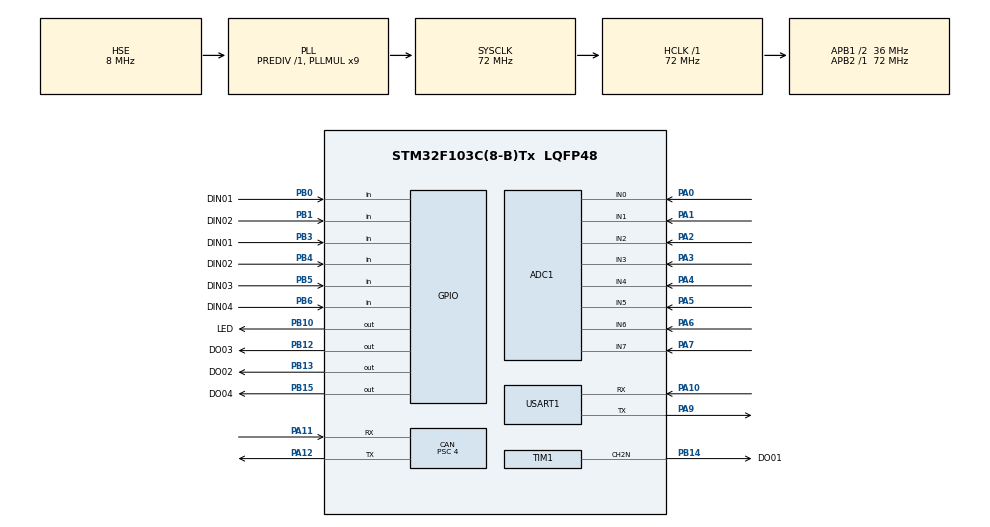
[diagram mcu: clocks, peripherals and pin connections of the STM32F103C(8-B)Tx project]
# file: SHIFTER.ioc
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ADC1.Channel-10\#ChannelRegularConversion=ADC_CHANNEL_0
ADC1.Channel-11\#ChannelRegularConversion=ADC_CHANNEL_1
ADC1.Channel-12\#ChannelRegularConversion=ADC_CHANNEL_2
ADC1.Channel-13\#ChannelRegularConversion=ADC_CHANNEL_3
ADC1.Channel-14\#ChannelRegularConversion=ADC_CHANNEL_4
ADC1.Channel-15\#ChannelRegularConversion=ADC_CHANNEL_5
ADC1.Channel-16\#ChannelRegularConversion=ADC_CHANNEL_6
ADC1.Channel-17\#ChannelRegularConversion=ADC_CHANNEL_7
ADC1.ContinuousConvMode=ENABLE
ADC1.EnableInjectedConversion=DISABLE
ADC1.EnableRegularConversion=ENABLE
ADC1.NbrOfConversion=8
ADC1.NbrOfConversionFlag=1
ADC1.Rank-10\#ChannelRegularConversion=1
ADC1.Rank-11\#ChannelRegularConversion=2
ADC1.Rank-12\#ChannelRegularConversion=3
ADC1.Rank-13\#ChannelRegularConversion=4
ADC1.Rank-14\#ChannelRegularConversion=5
ADC1.Rank-15\#ChannelRegularConversion=6
ADC1.Rank-16\#ChannelRegularConversion=7
ADC1.Rank-17\#ChannelRegularConversion=8
ADC1.SamplingTime-10\#ChannelRegularConversion=ADC_SAMPLETIME_28CYCLES_5
ADC1.SamplingTime-11\#ChannelRegularConversion=ADC_SAMPLETIME_28CYCLES_5
ADC1.SamplingTime-12\#ChannelRegularConversion=ADC_SAMPLETIME_28CYCLES_5
ADC1.SamplingTime-13\#ChannelRegularConversion=ADC_SAMPLETIME_28CYCLES_5
ADC1.SamplingTime-14\#ChannelRegularConversion=ADC_SAMPLETIME_28CYCLES_5
ADC1.SamplingTime-15\#ChannelRegularConversion=ADC_SAMPLETIME_28CYCLES_5
ADC1.SamplingTime-16\#ChannelRegularConversion=ADC_SAMPLETIME_28CYCLES_5
ADC1.SamplingTime-17\#ChannelRegularConversion=ADC_SAMPLETIME_28CYCLES_5
ADC1.master=1
CAN.ABOM=ENABLE
CAN.BS1=CAN_BS1_6TQ
CAN.BS2=CAN_BS2_2TQ
CAN.CalculateBaudRate=1000000
CAN.CalculateTimeBit=1000
CAN.CalculateTimeQuantum=111.11111111111111
CAN.NART=ENABLE
CAN.Prescaler=4
Dma.ADC1.0.Direction=DMA_PERIPH_TO_MEMORY
Dma.ADC1.0.Instance=DMA1_Channel1
Dma.ADC1.0.MemDataAlignment=DMA_MDATAALIGN_HALFWORD
Dma.ADC1.0.MemInc=DMA_MINC_ENABLE
Dma.ADC1.0.Mode=DMA_CIRCULAR
Dma.ADC1.0.PeriphDataAlignment=DMA_PDATAALIGN_HALFWORD
Dma.ADC1.0.PeriphInc=DMA_PINC_DISABLE
Dma.ADC1.0.Priority=DMA_PRIORITY_MEDIUM
Dma.Request0=ADC1
Mcu.Family=STM32F1
Mcu.Name=STM32F103C(8-B)Tx
Mcu.Package=LQFP48
NVIC.DMA1_Channel1_IRQn=true\:0\:0\:false\:false\:true\:false\:true\:true
NVIC.PriorityGroup=NVIC_PRIORITYGROUP_4
NVIC.TIM3_IRQn=true\:0\:0\:false\:false\:true\:true\:true\:true
NVIC.USB_LP_CAN1_RX0_IRQn=true\:0\:0\:false\:false\:true\:true\:true\:true
PA0-WKUP.Signal=ADCx_IN0
PA1.Signal=ADCx_IN1
PA10.Mode=Asynchronous
PA10.Signal=USART1_RX
PA11.Mode=CAN_Activate
PA11.Signal=CAN_RX
PA12.Mode=CAN_Activate
PA12.Signal=CAN_TX
PA13.Mode=Serial_Wire
PA13.Signal=SYS_JTMS-SWDIO
PA14.Mode=Serial_Wire
PA14.Signal=SYS_JTCK-SWCLK
PA2.Signal=ADCx_IN2
PA3.Signal=ADCx_IN3
PA4.Signal=ADCx_IN4
PA5.Signal=ADCx_IN5
PA6.Signal=ADCx_IN6
PA7.Signal=ADCx_IN7
PA9.Mode=Asynchronous
PA9.Signal=USART1_TX
PB0.GPIO_Label=DIN01
PB0.Signal=GPIO_Input
PB1.GPIO_Label=DIN02
PB1.Signal=GPIO_Input
PB10.GPIO_Label=LED
PB10.Signal=GPIO_Output
PB12.GPIO_Label=DO03
PB12.Signal=GPIO_Output
PB13.GPIO_Label=DO02
PB13.Signal=GPIO_Output
PB14.GPIO_Label=DO01
PB14.Mode=PWM Generation2 CH2N
PB14.Signal=TIM1_CH2N
PB15.GPIO_Label=DO04
PB15.Signal=GPIO_Output
PB3.GPIO_Label=DIN01
PB3.Signal=GPIO_Input
PB4.GPIO_Label=DIN02
PB4.Signal=GPIO_Input
PB5.GPIO_Label=DIN03
PB5.Signal=GPIO_Input
PB6.GPIO_Label=DIN04
PB6.Signal=GPIO_Input
PD0-OSC_IN.Mode=HSE-External-Oscillator
PD0-OSC_IN.Signal=RCC_OSC_IN
PD1-OSC_OUT.Mode=HSE-External-Oscillator
PD1-OSC_OUT.Signal=RCC_OSC_OUT
ProjectManager.HeapSize=0x200
ProjectManager.StackSize=0x400
ProjectManager.TargetToolchain=STM32CubeIDE
RCC.ADCPresc=RCC_ADCPCLK2_DIV8
RCC.AHBFreq_Value=72000000
RCC.APB1CLKDivider=RCC_HCLK_DIV2
RCC.APB1Freq_Value=36000000
RCC.APB1TimFreq_Value=72000000
RCC.APB2Freq_Value=72000000
RCC.APB2TimFreq_Value=72000000
RCC.HCLKFreq_Value=72000000
RCC.PLLMUL=RCC_PLL_MUL9
RCC.PLLSourceVirtual=RCC_PLLSOURCE_HSE
RCC.SYSCLKFreq_VALUE=72000000
RCC.SYSCLKSource=RCC_SYSCLKSOURCE_PLLCLK
RCC.USBFreq_Value=72000000
SH.ADCx_IN0.0=ADC1_IN0,IN0
SH.ADCx_IN1.0=ADC1_IN1,IN1
SH.ADCx_IN2.0=ADC1_IN2,IN2
SH.ADCx_IN3.0=ADC1_IN3,IN3
SH.ADCx_IN4.0=ADC1_IN4,IN4
SH.ADCx_IN5.0=ADC1_IN5,IN5
SH.ADCx_IN6.0=ADC1_IN6,IN6
SH.ADCx_IN7.0=ADC1_IN7,IN7
TIM1.AutoReloadPreload=TIM_AUTORELOAD_PRELOAD_ENABLE
TIM1.Channel-PWM\ Generation2\ CH2N=TIM_CHANNEL_2
TIM1.OCFastMode_PWM-PWM\ Generation2\ CH2N=TIM_OCFAST_ENABLE
TIM1.OCMode_PWM-PWM\ Generation2\ CH2N=TIM_OCMODE_PWM1
TIM1.Period=1500-1
TIM1.Prescaler=72-1
TIM2.AutoReloadPreload=TIM_AUTORELOAD_PRELOAD_ENABLE
TIM2.Period=65535
TIM2.Prescaler=72-1
TIM3.AutoReloadPreload=TIM_AUTORELOAD_PRELOAD_DISABLE
TIM3.Period=100-1
TIM3.Prescaler=7200-1
USART1.VirtualMode=VM_ASYNC
VP_TIM1_VS_ClockSourceINT.Mode=Internal
VP_TIM2_VS_ClockSourceINT.Mode=Internal
VP_TIM3_VS_ClockSourceINT.Mode=Internal
board=custom

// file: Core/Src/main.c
/* USER CODE BEGIN Header */
/**
  ******************************************************************************
  * @file           : main.c
  * @brief          : Main program body
  ******************************************************************************
  * @attention
  *
  * Copyright (c) 2023 STMicroelectronics.
  * All rights reserved.
  *
  * This software is licensed under terms that can be found in the LICENSE file
  * in the root directory of this software component.
  * If no LICENSE file comes with this software, it is provided AS-IS.
  *
  ******************************************************************************
  */
/* USER CODE END Header */
#include "main.h"

/* USER CODE BEGIN Includes */
#include <Controller.h>
#include <Inputs.h>
#include <Outputs.h>
/* USER CODE END Includes */

ADC_HandleTypeDef hadc1;
DMA_HandleTypeDef hdma_adc1;

CAN_HandleTypeDef hcan;

TIM_HandleTypeDef htim1;
TIM_HandleTypeDef htim2;
TIM_HandleTypeDef htim3;

UART_HandleTypeDef huart1;

/* USER CODE BEGIN PV */
uint16_t adcRawValue[ADC_BUFFER_SIZE];

volatile uint8_t BCycleTimerFlag = 0;

// public struct variables
InputStruct Inputs;
OutputStruct Outputs;

/* USER CODE END PV */

void SystemClock_Config(void);
static void MX_GPIO_Init(void);
static void MX_DMA_Init(void);
static void MX_TIM3_Init(void);
static void MX_ADC1_Init(void);
static void MX_CAN_Init(void);
static void MX_USART1_UART_Init(void);
static void MX_TIM2_Init(void);
static void MX_TIM1_Init(void);

int main(void)
{

  /* MCU Configuration--------------------------------------------------------*/

  /* Reset of all peripherals, Initializes the Flash interface and the Systick. */
  HAL_Init();

  /* Configure the system clock */
  SystemClock_Config();

  /* Initialize all configured peripherals */
  MX_GPIO_Init();
  MX_DMA_Init();
  MX_TIM3_Init();
  MX_ADC1_Init();
  MX_CAN_Init();
  MX_USART1_UART_Init();
  MX_TIM2_Init();
  MX_TIM1_Init();
  /* USER CODE BEGIN 2 */

  HAL_TIM_Base_Start_IT(&htim3);	// Code Cycle timer with interrupt (100Hz)
  HAL_TIM_Base_Start(&htim2);		// general 1MHz timer for timing
  InitInputs();
  InitController(&Inputs,&Outputs);
  InitOutputs();

  HAL_Delay(50);	// we give some time to the peripherals to start and produce normal values

  uint32_t tMain, tExecution;
  /* USER CODE END 2 */

  /* Infinite loop */
  /* USER CODE BEGIN WHILE */
  while (1) {

	  if(BCycleTimerFlag) {		// BCycleTimerFlag becomes 1 in the Timer callback below
		  BCycleTimerFlag = 0;
		  tMain = HAL_GetTick();
		  ReadInputs(&Inputs);
		  Controller(&Inputs,&Outputs);
		  WriteOutputs(&Inputs,&Outputs);
		  tExecution = HAL_GetTick() - tMain;
	  }

    /* USER CODE END WHILE */

  }
}

void SystemClock_Config(void)
{
  RCC_OscInitTypeDef RCC_OscInitStruct = {0};
  RCC_ClkInitTypeDef RCC_ClkInitStruct = {0};
  RCC_PeriphCLKInitTypeDef PeriphClkInit = {0};

  /** Initializes the RCC Oscillators according to the specified parameters
  * in the RCC_OscInitTypeDef structure.
  */
  RCC_OscInitStruct.OscillatorType = RCC_OSCILLATORTYPE_HSE;
  RCC_OscInitStruct.HSEState = RCC_HSE_ON;
  RCC_OscInitStruct.HSEPredivValue = RCC_HSE_PREDIV_DIV1;
  RCC_OscInitStruct.HSIState = RCC_HSI_ON;
  RCC_OscInitStruct.PLL.PLLState = RCC_PLL_ON;
  RCC_OscInitStruct.PLL.PLLSource = RCC_PLLSOURCE_HSE;
  RCC_OscInitStruct.PLL.PLLMUL = RCC_PLL_MUL9;
  if (HAL_RCC_OscConfig(&RCC_OscInitStruct) != HAL_OK)
  {
    Error_Handler();
  }

  /** Initializes the CPU, AHB and APB buses clocks
  */
  RCC_ClkInitStruct.ClockType = RCC_CLOCKTYPE_HCLK|RCC_CLOCKTYPE_SYSCLK
                              |RCC_CLOCKTYPE_PCLK1|RCC_CLOCKTYPE_PCLK2;
  RCC_ClkInitStruct.SYSCLKSource = RCC_SYSCLKSOURCE_PLLCLK;
  RCC_ClkInitStruct.AHBCLKDivider = RCC_SYSCLK_DIV1;
  RCC_ClkInitStruct.APB1CLKDivider = RCC_HCLK_DIV2;
  RCC_ClkInitStruct.APB2CLKDivider = RCC_HCLK_DIV1;

  if (HAL_RCC_ClockConfig(&RCC_ClkInitStruct, FLASH_LATENCY_2) != HAL_OK)
  {
    Error_Handler();
  }
  PeriphClkInit.PeriphClockSelection = RCC_PERIPHCLK_ADC;
  PeriphClkInit.AdcClockSelection = RCC_ADCPCLK2_DIV8;
  if (HAL_RCCEx_PeriphCLKConfig(&PeriphClkInit) != HAL_OK)
  {
    Error_Handler();
  }
}

static void MX_ADC1_Init(void)
{

  ADC_ChannelConfTypeDef sConfig = {0};

  /** Common config
  */
  hadc1.Instance = ADC1;
  hadc1.Init.ScanConvMode = ADC_SCAN_ENABLE;
  hadc1.Init.ContinuousConvMode = ENABLE;
  hadc1.Init.DiscontinuousConvMode = DISABLE;
  hadc1.Init.ExternalTrigConv = ADC_SOFTWARE_START;
  hadc1.Init.DataAlign = ADC_DATAALIGN_RIGHT;
  hadc1.Init.NbrOfConversion = 8;
  if (HAL_ADC_Init(&hadc1) != HAL_OK)
  {
    Error_Handler();
  }

  /** Configure Regular Channel
  */
  sConfig.Channel = ADC_CHANNEL_0;
  sConfig.Rank = ADC_REGULAR_RANK_1;
  sConfig.SamplingTime = ADC_SAMPLETIME_28CYCLES_5;
  if (HAL_ADC_ConfigChannel(&hadc1, &sConfig) != HAL_OK)
  {
    Error_Handler();
  }

  /** Configure Regular Channel
  */
  sConfig.Channel = ADC_CHANNEL_1;
  sConfig.Rank = ADC_REGULAR_RANK_2;
  if (HAL_ADC_ConfigChannel(&hadc1, &sConfig) != HAL_OK)
  {
    Error_Handler();
  }

  /** Configure Regular Channel
  */
  sConfig.Channel = ADC_CHANNEL_2;
  sConfig.Rank = ADC_REGULAR_RANK_3;
  if (HAL_ADC_ConfigChannel(&hadc1, &sConfig) != HAL_OK)
  {
    Error_Handler();
  }

  /** Configure Regular Channel
  */
  sConfig.Channel = ADC_CHANNEL_3;
  sConfig.Rank = ADC_REGULAR_RANK_4;
  if (HAL_ADC_ConfigChannel(&hadc1, &sConfig) != HAL_OK)
  {
    Error_Handler();
  }

  /** Configure Regular Channel
  */
  sConfig.Channel = ADC_CHANNEL_4;
  sConfig.Rank = ADC_REGULAR_RANK_5;
  if (HAL_ADC_ConfigChannel(&hadc1, &sConfig) != HAL_OK)
  {
    Error_Handler();
  }

  /** Configure Regular Channel
  */
  sConfig.Channel = ADC_CHANNEL_5;
  sConfig.Rank = ADC_REGULAR_RANK_6;
  if (HAL_ADC_ConfigChannel(&hadc1, &sConfig) != HAL_OK)
  {
    Error_Handler();
  }

  /** Configure Regular Channel
  */
  sConfig.Channel = ADC_CHANNEL_6;
  sConfig.Rank = ADC_REGULAR_RANK_7;
  if (HAL_ADC_ConfigChannel(&hadc1, &sConfig) != HAL_OK)
  {
    Error_Handler();
  }

  /** Configure Regular Channel
  */
  sConfig.Channel = ADC_CHANNEL_7;
  sConfig.Rank = ADC_REGULAR_RANK_8;
  if (HAL_ADC_ConfigChannel(&hadc1, &sConfig) != HAL_OK)
  {
    Error_Handler();
  }

}

static void MX_CAN_Init(void)
{

  hcan.Instance = CAN1;
  hcan.Init.Prescaler = 4;
  hcan.Init.Mode = CAN_MODE_NORMAL;
  hcan.Init.SyncJumpWidth = CAN_SJW_1TQ;
  hcan.Init.TimeSeg1 = CAN_BS1_6TQ;
  hcan.Init.TimeSeg2 = CAN_BS2_2TQ;
  hcan.Init.TimeTriggeredMode = DISABLE;
  hcan.Init.AutoBusOff = ENABLE;
  hcan.Init.AutoWakeUp = DISABLE;
  hcan.Init.AutoRetransmission = ENABLE;
  hcan.Init.ReceiveFifoLocked = DISABLE;
  hcan.Init.TransmitFifoPriority = DISABLE;
  if (HAL_CAN_Init(&hcan) != HAL_OK)
  {
    Error_Handler();
  }
  /* USER CODE BEGIN CAN_Init 2 */

  	  // We setup and enable 2 filters for each message, one of FIFO0 and one for FIFO1
  	  // like this the message has the chance to enter either FIFO and get received with an interrupt
  	  // We need to increment the banks to be able to have all filters active at the same time and not overwrite them

  	// STEERING WHEEL RECEIVE
   CAN_FilterTypeDef FilterConfig0;
   FilterConfig0.FilterIdHigh = SIU_TX_ID01 << 5 ;
   FilterConfig0.FilterIdLow = 0;
   FilterConfig0.FilterMaskIdHigh = 0xffe0;
   FilterConfig0.FilterMaskIdLow = 0;
   FilterConfig0.FilterFIFOAssignment = CAN_FILTER_FIFO0;
   FilterConfig0.FilterBank = 0;
   FilterConfig0.SlaveStartFilterBank = 0;
   FilterConfig0.FilterMode = CAN_FILTERMODE_IDMASK;
   FilterConfig0.FilterScale = CAN_FILTERSCALE_32BIT;
   FilterConfig0.FilterActivation = ENABLE;

   if(HAL_CAN_ConfigFilter(&hcan, &FilterConfig0)!=HAL_OK) {
 	  Error_Handler();
 	}

   CAN_FilterTypeDef FilterConfig01;
   FilterConfig01.FilterIdHigh = SIU_TX_ID01 << 5 ;
   FilterConfig01.FilterIdLow = 0;
   FilterConfig01.FilterMaskIdHigh = 0xffe0;
   FilterConfig01.FilterMaskIdLow = 0;
   FilterConfig01.FilterFIFOAssignment = CAN_FILTER_FIFO1;
   FilterConfig01.FilterBank = 1;
   FilterConfig01.SlaveStartFilterBank = 0;
   FilterConfig01.FilterMode = CAN_FILTERMODE_IDMASK;
   FilterConfig01.FilterScale = CAN_FILTERSCALE_32BIT;
   FilterConfig01.FilterActivation = ENABLE;

   if(HAL_CAN_ConfigFilter(&hcan, &FilterConfig01)!=HAL_OK) {
 	  Error_Handler();
 	}

 	// ECU RECEIVE
   CAN_FilterTypeDef FilterConfig1;
   FilterConfig1.FilterIdHigh = ECU_TX_ID01 << 5 ;
   FilterConfig1.FilterIdLow = 0;
   FilterConfig1.FilterMaskIdHigh = 0xffe0;
   FilterConfig1.FilterMaskIdLow = 0;
   FilterConfig1.FilterFIFOAssignment = CAN_FILTER_FIFO0;
   FilterConfig1.FilterBank = 2;
   FilterConfig1.SlaveStartFilterBank = 0;
   FilterConfig1.FilterMode = CAN_FILTERMODE_IDMASK;
   FilterConfig1.FilterScale = CAN_FILTERSCALE_32BIT;
   FilterConfig1.FilterActivation = ENABLE;

   if(HAL_CAN_ConfigFilter(&hcan, &FilterConfig1)!=HAL_OK) {
 	  Error_Handler();
 	}

   CAN_FilterTypeDef FilterConfig11;
   FilterConfig11.FilterIdHigh = ECU_TX_ID01 << 5 ;
   FilterConfig11.FilterIdLow = 0;
   FilterConfig11.FilterMaskIdHigh = 0xffe0;
   FilterConfig11.FilterMaskIdLow = 0;
   FilterConfig11.FilterFIFOAssignment = CAN_FILTER_FIFO1;
   FilterConfig11.FilterBank = 3;
   FilterConfig11.SlaveStartFilterBank = 0;
   FilterConfig11.FilterMode = CAN_FILTERMODE_IDMASK;
   FilterConfig11.FilterScale = CAN_FILTERSCALE_32BIT;
   FilterConfig11.FilterActivation = ENABLE;

   if(HAL_CAN_ConfigFilter(&hcan, &FilterConfig11)!=HAL_OK) {
 	  Error_Handler();
 	}

   // we activate the notifications (interrupts) for FIFO0
   if (HAL_CAN_ActivateNotification(&hcan, CAN_IT_RX_FIFO0_MSG_PENDING) != HAL_OK) {
	   Error_Handler();
 	}
   // we activate the notifications (interrupts) for FIFO1
   if (HAL_CAN_ActivateNotification(&hcan, CAN_IT_RX_FIFO1_MSG_PENDING) != HAL_OK) {
	   Error_Handler();
 	}
   // we activate the notifications (interrupts) for all error codes
   if(HAL_CAN_ActivateNotification(&hcan, (CAN_IT_ERROR_WARNING | CAN_IT_ERROR_PASSIVE | CAN_IT_BUSOFF | CAN_IT_LAST_ERROR_CODE | CAN_IT_ERROR)) != HAL_OK) {
	   Error_Handler();
   }
   // we start the CAN
   if(HAL_CAN_Start(&hcan)!=HAL_OK) {
 	  Error_Handler();
   }

  /* USER CODE END CAN_Init 2 */

}

static void MX_TIM1_Init(void)
{

  TIM_ClockConfigTypeDef sClockSourceConfig = {0};
  TIM_MasterConfigTypeDef sMasterConfig = {0};
  TIM_OC_InitTypeDef sConfigOC = {0};
  TIM_BreakDeadTimeConfigTypeDef sBreakDeadTimeConfig = {0};

  htim1.Instance = TIM1;
  htim1.Init.Prescaler = 72-1;
  htim1.Init.CounterMode = TIM_COUNTERMODE_UP;
  htim1.Init.Period = 1500-1;
  htim1.Init.ClockDivision = TIM_CLOCKDIVISION_DIV1;
  htim1.Init.RepetitionCounter = 0;
  htim1.Init.AutoReloadPreload = TIM_AUTORELOAD_PRELOAD_ENABLE;
  if (HAL_TIM_Base_Init(&htim1) != HAL_OK)
  {
    Error_Handler();
  }
  sClockSourceConfig.ClockSource = TIM_CLOCKSOURCE_INTERNAL;
  if (HAL_TIM_ConfigClockSource(&htim1, &sClockSourceConfig) != HAL_OK)
  {
    Error_Handler();
  }
  if (HAL_TIM_PWM_Init(&htim1) != HAL_OK)
  {
    Error_Handler();
  }
  sMasterConfig.MasterOutputTrigger = TIM_TRGO_RESET;
  sMasterConfig.MasterSlaveMode = TIM_MASTERSLAVEMODE_DISABLE;
  if (HAL_TIMEx_MasterConfigSynchronization(&htim1, &sMasterConfig) != HAL_OK)
  {
    Error_Handler();
  }
  sConfigOC.OCMode = TIM_OCMODE_PWM1;
  sConfigOC.Pulse = 0;
  sConfigOC.OCPolarity = TIM_OCPOLARITY_HIGH;
  sConfigOC.OCNPolarity = TIM_OCNPOLARITY_HIGH;
  sConfigOC.OCFastMode = TIM_OCFAST_ENABLE;
  sConfigOC.OCIdleState = TIM_OCIDLESTATE_RESET;
  sConfigOC.OCNIdleState = TIM_OCNIDLESTATE_RESET;
  if (HAL_TIM_PWM_ConfigChannel(&htim1, &sConfigOC, TIM_CHANNEL_2) != HAL_OK)
  {
    Error_Handler();
  }
  sBreakDeadTimeConfig.OffStateRunMode = TIM_OSSR_DISABLE;
  sBreakDeadTimeConfig.OffStateIDLEMode = TIM_OSSI_DISABLE;
  sBreakDeadTimeConfig.LockLevel = TIM_LOCKLEVEL_OFF;
  sBreakDeadTimeConfig.DeadTime = 0;
  sBreakDeadTimeConfig.BreakState = TIM_BREAK_DISABLE;
  sBreakDeadTimeConfig.BreakPolarity = TIM_BREAKPOLARITY_HIGH;
  sBreakDeadTimeConfig.AutomaticOutput = TIM_AUTOMATICOUTPUT_DISABLE;
  if (HAL_TIMEx_ConfigBreakDeadTime(&htim1, &sBreakDeadTimeConfig) != HAL_OK)
  {
    Error_Handler();
  }
  HAL_TIM_MspPostInit(&htim1);

}

static void MX_TIM2_Init(void)
{

  TIM_ClockConfigTypeDef sClockSourceConfig = {0};
  TIM_MasterConfigTypeDef sMasterConfig = {0};

  htim2.Instance = TIM2;
  htim2.Init.Prescaler = 72-1;
  htim2.Init.CounterMode = TIM_COUNTERMODE_UP;
  htim2.Init.Period = 65535;
  htim2.Init.ClockDivision = TIM_CLOCKDIVISION_DIV1;
  htim2.Init.AutoReloadPreload = TIM_AUTORELOAD_PRELOAD_ENABLE;
  if (HAL_TIM_Base_Init(&htim2) != HAL_OK)
  {
    Error_Handler();
  }
  sClockSourceConfig.ClockSource = TIM_CLOCKSOURCE_INTERNAL;
  if (HAL_TIM_ConfigClockSource(&htim2, &sClockSourceConfig) != HAL_OK)
  {
    Error_Handler();
  }
  sMasterConfig.MasterOutputTrigger = TIM_TRGO_RESET;
  sMasterConfig.MasterSlaveMode = TIM_MASTERSLAVEMODE_DISABLE;
  if (HAL_TIMEx_MasterConfigSynchronization(&htim2, &sMasterConfig) != HAL_OK)
  {
    Error_Handler();
  }

}

static void MX_TIM3_Init(void)
{

  TIM_ClockConfigTypeDef sClockSourceConfig = {0};
  TIM_MasterConfigTypeDef sMasterConfig = {0};

  htim3.Instance = TIM3;
  htim3.Init.Prescaler = 7200-1;
  htim3.Init.CounterMode = TIM_COUNTERMODE_UP;
  htim3.Init.Period = 100-1;
  htim3.Init.ClockDivision = TIM_CLOCKDIVISION_DIV1;
  htim3.Init.AutoReloadPreload = TIM_AUTORELOAD_PRELOAD_DISABLE;
  if (HAL_TIM_Base_Init(&htim3) != HAL_OK)
  {
    Error_Handler();
  }
  sClockSourceConfig.ClockSource = TIM_CLOCKSOURCE_INTERNAL;
  if (HAL_TIM_ConfigClockSource(&htim3, &sClockSourceConfig) != HAL_OK)
  {
    Error_Handler();
  }
  sMasterConfig.MasterOutputTrigger = TIM_TRGO_RESET;
  sMasterConfig.MasterSlaveMode = TIM_MASTERSLAVEMODE_DISABLE;
  if (HAL_TIMEx_MasterConfigSynchronization(&htim3, &sMasterConfig) != HAL_OK)
  {
    Error_Handler();
  }

}

static void MX_USART1_UART_Init(void)
{

  huart1.Instance = USART1;
  huart1.Init.BaudRate = 115200;
  huart1.Init.WordLength = UART_WORDLENGTH_8B;
  huart1.Init.StopBits = UART_STOPBITS_1;
  huart1.Init.Parity = UART_PARITY_NONE;
  huart1.Init.Mode = UART_MODE_TX_RX;
  huart1.Init.HwFlowCtl = UART_HWCONTROL_NONE;
  huart1.Init.OverSampling = UART_OVERSAMPLING_16;
  if (HAL_UART_Init(&huart1) != HAL_OK)
  {
    Error_Handler();
  }

}

static void MX_DMA_Init(void)
{

  /* DMA controller clock enable */
  __HAL_RCC_DMA1_CLK_ENABLE();

  /* DMA interrupt init */
  /* DMA1_Channel1_IRQn interrupt configuration */
  HAL_NVIC_SetPriority(DMA1_Channel1_IRQn, 0, 0);
  HAL_NVIC_EnableIRQ(DMA1_Channel1_IRQn);

}

static void MX_GPIO_Init(void)
{
  GPIO_InitTypeDef GPIO_InitStruct = {0};

  /* GPIO Ports Clock Enable */
  __HAL_RCC_GPIOD_CLK_ENABLE();
  __HAL_RCC_GPIOA_CLK_ENABLE();
  __HAL_RCC_GPIOB_CLK_ENABLE();

  /*Configure GPIO pin Output Level */
  HAL_GPIO_WritePin(GPIOB, LED_Pin|DO03_Pin|DO02_Pin|DO04_Pin, GPIO_PIN_RESET);

  /*Configure GPIO pins : DIN01_Pin DIN02_Pin DIN01B3_Pin DIN02B4_Pin
                           DIN03_Pin DIN04_Pin */
  GPIO_InitStruct.Pin = DIN01_Pin|DIN02_Pin|DIN01B3_Pin|DIN02B4_Pin
                          |DIN03_Pin|DIN04_Pin;
  GPIO_InitStruct.Mode = GPIO_MODE_INPUT;
  GPIO_InitStruct.Pull = GPIO_NOPULL;
  HAL_GPIO_Init(GPIOB, &GPIO_InitStruct);

  /*Configure GPIO pins : LED_Pin DO03_Pin DO02_Pin DO04_Pin */
  GPIO_InitStruct.Pin = LED_Pin|DO03_Pin|DO02_Pin|DO04_Pin;
  GPIO_InitStruct.Mode = GPIO_MODE_OUTPUT_PP;
  GPIO_InitStruct.Pull = GPIO_NOPULL;
  GPIO_InitStruct.Speed = GPIO_SPEED_FREQ_LOW;
  HAL_GPIO_Init(GPIOB, &GPIO_InitStruct);

}

/* USER CODE BEGIN 4 */
void HAL_TIM_PeriodElapsedCallback(TIM_HandleTypeDef *htim) {

	if(htim == &htim3) {	// Code Cycle interrupt
		BCycleTimerFlag = 1;
	}
}

/* USER CODE END 4 */

void Error_Handler(void)
{
  /* USER CODE BEGIN Error_Handler_Debug */
  /* User can add his own implementation to report the HAL error return state */
  __disable_irq();
  while (1)
  {
	  HAL_Delay(200);
	  NVIC_SystemReset();
  }
  /* USER CODE END Error_Handler_Debug */
}
